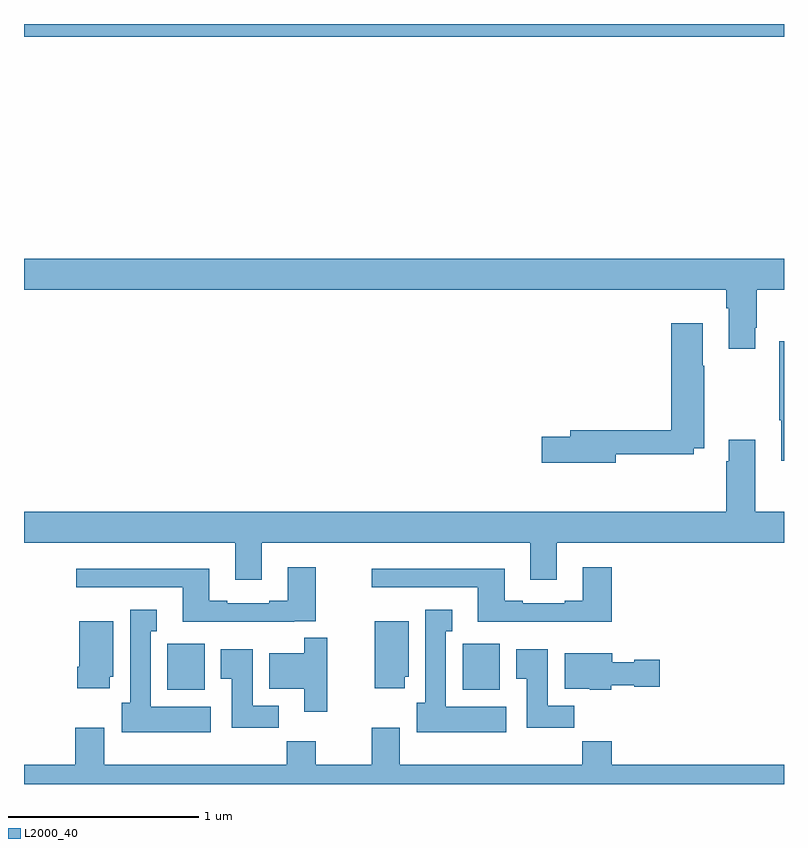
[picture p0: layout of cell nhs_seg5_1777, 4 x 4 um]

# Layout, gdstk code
import gdstk
lib = gdstk.Library(unit=1e-6, precision=1e-09)
def R(c, l, rs):  # rectangles x0, y0, x1, y1
    for r in rs: c.add(gdstk.rectangle(r[:2], r[2:], *l))
def P(c, l, *ps):  # polygons
    for p in ps: c.add(gdstk.Polygon(p, *l))
L2000_40 = (2000, 40)

nhs_seg5_1777 = lib.new_cell('nhs_seg5_1777')
R(nhs_seg5_1777, L2000_40, [(217.754,881.294,217.951,881.536), (219.308,881.294,219.505,881.536), (217,884.732,221,884.799)])
P(nhs_seg5_1777, L2000_40, [(217,883.4),(220.697,883.4),(220.697,883.304),(220.709,883.304),(220.709,883.089),(220.849,883.089),(220.849,883.201),(220.857,883.201),(220.857,883.4),(221,883.4),(221,883.564),(217,883.564)],
  [(220.114,882.534),(220.524,882.534),(220.524,882.566),(220.581,882.566),(220.581,883.001),(220.573,883.001),(220.573,883.225),(220.406,883.225),(220.406,882.662),(219.875,882.662),(219.875,882.626),(219.726,882.626),(219.726,882.491),(220.114,882.491)],
  [(221,883.129),(220.974,883.129),(220.974,882.713),(220.985,882.713),(220.985,882.501),(221,882.501)],
  [(218.251,882.068),(219.665,882.068),(219.665,881.874),(219.805,881.874),(219.805,882.068),(221,882.068),(221,882.232),(220.849,882.232),(220.849,882.61),(220.709,882.61),(220.709,882.497),(220.697,882.497),(220.697,882.232),(217,882.232),(217,882.068),(218.111,882.068),(218.111,881.874),(218.251,881.874)],
  [(220.094,881.941),(219.941,881.941),(219.941,881.764),(219.845,881.764),(219.845,881.751),(219.625,881.751),(219.625,881.764),(219.529,881.764),(219.529,881.932),(218.829,881.932),(218.829,881.835),(219.389,881.835),(219.389,881.654),(220.094,881.654)],
  [(218.423,881.655),(218.535,881.655),(218.535,881.941),(218.387,881.941),(218.387,881.764),(218.291,881.764),(218.291,881.751),(218.071,881.751),(218.071,881.764),(217.975,881.764),(217.975,881.932),(217.275,881.932),(217.275,881.835),(217.835,881.835),(217.835,881.654),(218.423,881.654)],
  [(217.984,881.206),(217.666,881.206),(217.666,881.603),(217.699,881.603),(217.699,881.716),(217.559,881.716),(217.559,881.226),(217.514,881.226),(217.514,881.072),(217.984,881.072)],
  [(219.538,881.206),(219.22,881.206),(219.22,881.603),(219.253,881.603),(219.253,881.716),(219.113,881.716),(219.113,881.226),(219.068,881.226),(219.068,881.072),(219.538,881.072)],
  [(219.004,881.364),(219.025,881.364),(219.025,881.656),(218.846,881.656),(218.846,881.304),(219.004,881.304)],
  [(217.45,881.364),(217.471,881.364),(217.471,881.656),(217.292,881.656),(217.292,881.416),(217.28,881.416),(217.28,881.304),(217.45,881.304)],
  [(218.596,881.57),(218.474,881.57),(218.474,881.488),(218.291,881.488),(218.291,881.3),(218.474,881.3),(218.474,881.178),(218.596,881.178)],
  [(218.342,881.212),(218.203,881.212),(218.203,881.509),(218.036,881.509),(218.036,881.353),(218.093,881.353),(218.093,881.094),(218.342,881.094)],
  [(219.896,881.212),(219.757,881.212),(219.757,881.509),(219.59,881.509),(219.59,881.353),(219.647,881.353),(219.647,881.094),(219.896,881.094)],
  [(220.092,881.318),(220.212,881.318),(220.212,881.311),(220.345,881.311),(220.345,881.453),(220.212,881.453),(220.212,881.44),(220.096,881.44),(220.096,881.488),(219.845,881.488),(219.845,881.3),(219.978,881.3),(219.978,881.294),(220.092,881.294)],
  [(221,880.9),(220.094,880.9),(220.094,881.024),(219.937,881.024),(219.937,880.9),(218.977,880.9),(218.977,881.095),(218.83,881.095),(218.83,880.9),(218.535,880.9),(218.535,881.024),(218.383,881.024),(218.383,880.9),(217.423,880.9),(217.423,881.095),(217.271,881.095),(217.271,880.9),(217,880.9),(217,880.799),(221,880.799)])

lib.write_gds('nhs_seg5_1777.gds')
